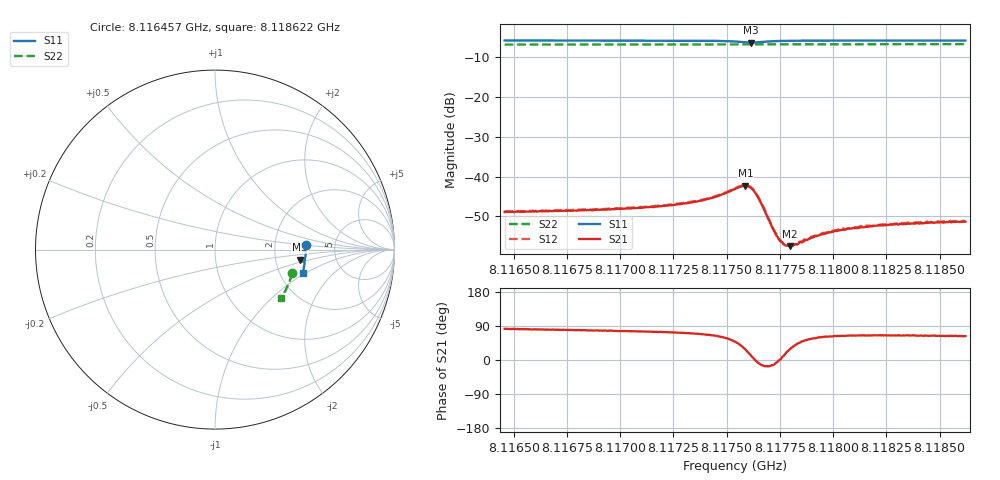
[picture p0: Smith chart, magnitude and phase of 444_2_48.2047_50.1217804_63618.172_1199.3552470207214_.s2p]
#  HZ  S  RI  R  50.00
! Rohde & Schwarz Vector Network Analyzer
! Rohde-Schwarz,ZNB20-2Port,1311601062101988,3.16
! Created: UTC 3/20/2024, 11:55:58 AM
! freq[Hz]  re:S11  im:S11  re:S21  im:S21  re:S12  im:S12  re:S22  im:S22
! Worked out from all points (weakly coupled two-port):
!   401 points, 8.116457 GHz to 8.118622 GHz, reference 50 ohm
!   highest |S21| = -42.32 dB at 8.117588 GHz (marker M1); lowest = -57.5 dB at 8.117799 GHz (marker M2)
!   lowest |S11| = -6.4 dB at 8.117615 GHz (marker M3), VSWR 2.82, Z = 138 - j19.9 ohm
!   |S11| at or under -10 dB: nowhere
!   |S22| runs from -6.9 to -6.8 dB; largest |S21 - S12| = 0.00019
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8.1164572e9  0.5067 0.0248  0.000489 0.00355  0.000544 0.00362  0.4302 -0.1322
8.1168198e9  0.5067 -0.0029  0.000757 0.00371  0.000813 0.00374  0.423 -0.1563
8.1171823e9  0.5047 -0.0318  0.00117 0.00405  0.00124 0.00412  0.4145 -0.1803
8.1173013e9  0.5031 -0.042  0.00146 0.00435  0.00153 0.00443  0.4112 -0.188
8.1173933e9  0.5008 -0.0509  0.00191 0.0047  0.002 0.00479  0.4088 -0.1939
8.1174582e9  0.4976 -0.0578  0.00254 0.00504  0.00265 0.00513  0.4069 -0.1981
8.1175394e9  0.4879 -0.0659  0.00462 0.00524  0.00474 0.0053  0.4041 -0.2034
8.1175881e9  0.4767 -0.0634  0.00677 0.00358  0.00692 0.00362  0.4023 -0.206
8.1176152e9  0.4738 -0.0556  0.00702 0.00138  0.00715 0.00137  0.4015 -0.2073
8.1176314e9  0.4755 -0.0507  0.00642 0.000152  0.00657 9.71e-05  0.4011 -0.2079
8.117653e9  0.4807 -0.0466  0.00509 -0.000843  0.0052 -0.000898  0.401 -0.2092
8.117718e9  0.4939 -0.051  0.00215 -0.000519  0.00219 -0.000501  0.3994 -0.2134
8.1177396e9  0.4961 -0.054  0.00174 -0.00014  0.00176 -0.000159  0.3988 -0.215
8.1177667e9  0.4975 -0.0577  0.00139 0.000255  0.00142 0.000253  0.3983 -0.2167
8.1177829e9  0.4981 -0.0597  0.00127 0.000496  0.00131 0.000477  0.3976 -0.2178
8.1177991e9  0.4984 -0.0615  0.00117 0.000655  0.00121 0.0007  0.3972 -0.2187
8.1178262e9  0.499 -0.0648  0.00108 0.000934  0.00109 0.000944  0.3964 -0.2206
8.1179019e9  0.499 -0.0725  0.00094 0.00143  0.00101 0.00144  0.3939 -0.2254
8.1179398e9  0.4989 -0.076  0.000937 0.0016  0.000959 0.00162  0.3927 -0.2279
8.1180372e9  0.4978 -0.0846  0.000951 0.00191  0.000969 0.00191  0.3894 -0.2338
8.1182645e9  0.4947 -0.1027  0.00106 0.00225  0.00106 0.00231  0.3815 -0.2478
8.1186216e9  0.4882 -0.1294  0.00123 0.00242  0.00125 0.00245  0.3683 -0.269
